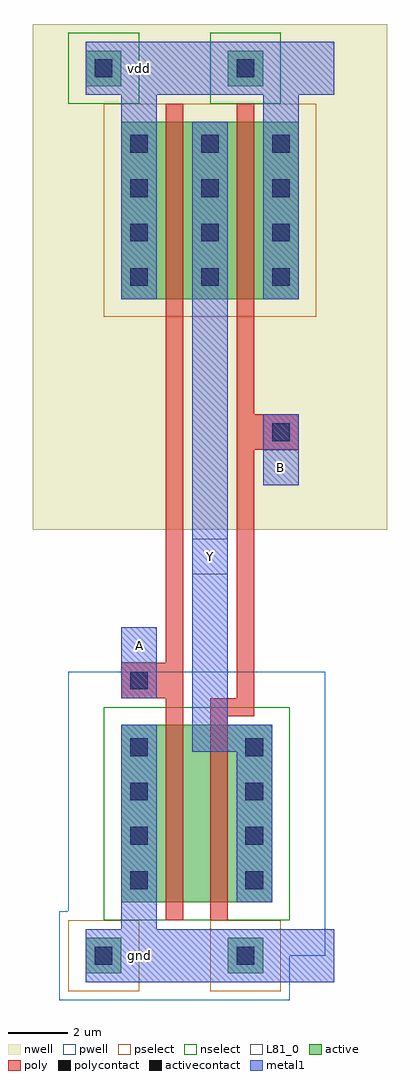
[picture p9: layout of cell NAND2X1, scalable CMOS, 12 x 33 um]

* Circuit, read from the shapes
.subckt NAND2X1 A B Y gnd vdd
M1 n1 A gnd gnd nfet w=6u l=0.6u
M2 Y B n1 gnd nfet w=6u l=0.6u
M3 Y A vdd vdd pfet w=6u l=0.6u
M4 vdd B Y vdd pfet w=6u l=0.6u
.ends

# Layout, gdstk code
import gdstk
lib = gdstk.Library(unit=1e-6, precision=1e-09)
def R(c, l, rs):  # rectangles x0, y0, x1, y1
    for r in rs: c.add(gdstk.rectangle(r[:2], r[2:], *l))
def A(c, l, x, y, w, h, nx, ny, dx, dy):  # array of equal rectangles
    R(c, l, [(x+i*dx, y+j*dy, x+i*dx+w, y+j*dy+h) for i in range(nx) for j in range(ny)])
pwell = (41, 0)
nwell = (42, 0)
active = (43, 0)
pselect = (44, 0)
nselect = (45, 0)
poly = (46, 0)
polycontact = (47, 0)
activecontact = (48, 0)
metal1 = (49, 0)
L81_0 = (81, 0)

nand2x1 = lib.new_cell('NAND2X1')
R(nand2x1, pwell, [(-1.5,-1.5,6.3,0), (-1.5,0,7.5,1.5), (-1.2,1.5,7.5,9.6)])
R(nand2x1, nwell, [(-2.4,14.4,9.6,31.5)])
R(nand2x1, active, [(-0.6,-0.6,0.6,0.6), (4.2,-0.6,5.4,0.6), (0.6,1.8,5.7,7.8), (0.6,22.2,6.6,28.2), (-0.6,29.4,0.6,30.6), (4.2,29.4,5.4,30.6)])
R(nand2x1, pselect, [(-1.2,-1.2,1.2,1.2), (3.6,-1.2,6,1.2), (0,21.6,7.2,28.8)])
R(nand2x1, nselect, [(0,1.2,6.3,8.4), (-1.2,28.8,1.2,31.2), (3.6,28.8,6,31.2)])
R(nand2x1, poly, [(2.1,1.2,2.7,8.7), (3.6,1.2,4.2,8.1), (3.6,8.1,5.1,8.7), (0.6,8.7,2.7,9.9), (4.5,8.7,5.1,17.1), (2.1,9.9,2.7,28.8), (4.5,17.1,6.6,18.3), (4.5,18.3,5.1,28.8)])
R(nand2x1, polycontact, [(0.9,9,1.5,9.6), (5.7,17.4,6.3,18)])
A(nand2x1, activecontact, 0.9, 2.25, 0.6, 0.6, 1, 4, 0, 1.5)
A(nand2x1, activecontact, 4.8, 2.25, 0.6, 0.6, 1, 4, 0, 1.5)
A(nand2x1, activecontact, 0.9, 22.65, 0.6, 0.6, 3, 4, 2.4, 1.5)
R(nand2x1, activecontact, [(-0.3,-0.3,0.3,0.3), (4.5,-0.3,5.1,0.3), (-0.3,29.7,0.3,30.3), (4.5,29.7,5.1,30.3)])
R(nand2x1, metal1, [(-0.6,-0.9,7.8,0.9), (0.6,0.9,1.8,7.8), (4.5,1.8,5.7,6.9), (3,6.9,5.7,7.8), (3,7.8,4.2,28.2), (0.6,8.7,1.8,11.1), (5.4,15.9,6.6,18.3), (0.6,22.2,1.8,29.1), (5.4,22.2,6.6,29.1), (-0.6,29.1,7.8,30.9)])
R(nand2x1, L81_0, [(0.6,9.9,1.8,11.1), (3,12.9,4.2,14.1), (5.4,15.9,6.6,17.1)])
nand2x1.add(gdstk.Label('vdd', (1.2,30), layer=49, texttype=0))
nand2x1.add(gdstk.Label('Y', (3.6,13.5), layer=49, texttype=0))
nand2x1.add(gdstk.Label('gnd', (1.2,0), layer=49, texttype=0))
nand2x1.add(gdstk.Label('A', (1.2,10.5), layer=49, texttype=0))
nand2x1.add(gdstk.Label('B', (6,16.5), layer=49, texttype=0))

lib.write_gds('NAND2X1.gds')
